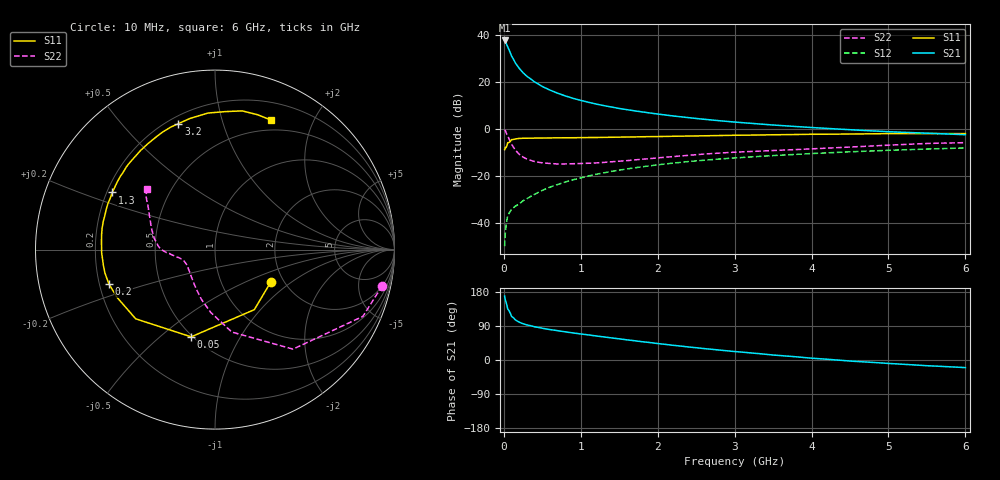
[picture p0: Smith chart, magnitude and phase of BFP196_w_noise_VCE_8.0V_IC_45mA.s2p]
! Infineon Technologies  Discrete & RF Semiconductors
! BFP196
! VCE =  8.0 V,  IC =  45 mA
! Common Emitter S-Parameters:  Jan 2017
# GHz  S  MA  R  50
!  f  S11  S21  S12  S22
! GHz  MAG  ANG  MAG  ANG  MAG  ANG  MAG  ANG
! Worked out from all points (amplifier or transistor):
!   77 points, 10 MHz to 6 GHz, reference 50 ohm
!   highest |S21| = 37.5 dB at 10 MHz (marker M1)
!   |S21| within 3 dB of that: start of sweep to 54.13 MHz
!   unconditionally stable (mu >= 1): 610.8 MHz to 2.395 GHz
!   at 130 MHz: K = 0.57, MSG = 31.3 dB, |S12| = -33.4 dB
!   at 2.2 GHz: K = 1.01, MAG = 9.4 dB, |S12| = -14.6 dB
!   at 6 GHz: K = 0.94, MSG = 2.8 dB, |S12| = -8.2 dB
!   lowest NFmin = 1.39 dB at 450 MHz
!   S11 on the Smith chart (normalised r, x): 10 MHz: 1.72, -0.71; 50 MHz: 0.49, -0.64; 200 MHz: 0.24, -0.15; 1.3 GHz: 0.22, +0.25; 3.2 GHz: 0.24, +0.72; 6 GHz: 0.38, +1.45
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0.01  0.3596 -30.1  74.88 168.5  0.0032 78.7  0.9533 -12.2
0.02  0.4 -56.8  72.16 158.3  0.0063 73.0  0.9042 -24.3
0.05  0.5039 -105.3  54.83 134.9  0.0142 57.8  0.7046 -51.9
0.1  0.5865 -138.9  35.14 115.2  0.0193 53.6  0.4688 -78.5
0.15  0.6069 -153.9  24.89 105.7  0.0227 52.6  0.3501 -94.0
0.2  0.6212 -162.0  19.13 99.8  0.0253 54.6  0.2876 -105.2
0.25  0.6271 -168.0  15.46 95.6  0.0295 56.5  0.2501 -113.4
0.3  0.628 -172.1  12.96 92.6  0.0326 59.0  0.2259 -120.6
0.4  0.6318 -178.4  9.838 87.6  0.0404 62.2  0.2007 -131.1
0.5  0.6334 176.7  7.885 83.8  0.0489 64.2  0.1884 -138.7
0.6  0.637 172.8  6.607 80.3  0.0575 64.3  0.1825 -144.7
0.7  0.6403 169.3  5.67 77.4  0.0654 65.2  0.178 -149.3
0.9  0.6427 162.6  4.415 71.4  0.0822 64.6  0.1805 -155.5
1.1  0.6495 156.7  3.641 66.2  0.0991 63.5  0.1847 -160.2
1.3  0.6553 150.9  3.093 60.9  0.1154 61.7  0.1923 -163.6
1.6  0.6665 142.6  2.537 53.2  0.1399 58.4  0.2099 -168.0
2.1  0.6851 129.5  1.955 41.2  0.1783 52.1  0.2479 -174.0
3.1  0.7279 108.1  1.344 20.7  0.2449 39.1  0.3225 174.8
3.2  0.7308 106.2  1.306 18.9  0.2507 37.9  0.3276 173.4
4.1  0.7627 91.5  1.037 3.4  0.3016 27.1  0.3797 159.7
5.1  0.7869 77.6  0.85 -10.2  0.352 15.6  0.4546 145.8
6  0.7864 66.8  0.746 -20.1  0.3906 5.5  0.5065 138.5
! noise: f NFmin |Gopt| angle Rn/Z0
0.45  1.39  0.37  -180  0.06
0.9  1.55  0.46  -166  0.07
1.9  2.36  0.68  -133  0.3
2.4  2.76  0.7  -120  0.65
